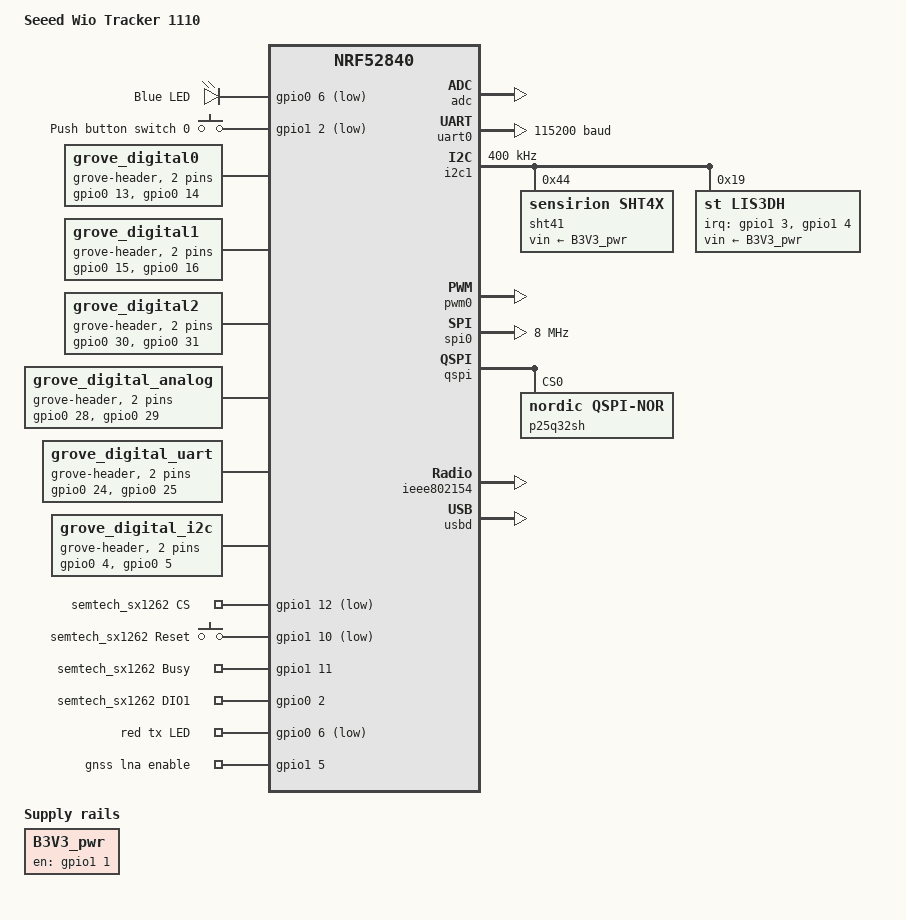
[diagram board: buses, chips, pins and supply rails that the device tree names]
/*
 * Copyright (c) 2017 Linaro Limited
 *
 * SPDX-License-Identifier: Apache-2.0
 */

/dts-v1/;
#include <nordic/nrf52840_qiaa.dtsi>
#include <zephyr/dt-bindings/gpio/gpio.h>
#include <zephyr/dt-bindings/led/led.h>
#include "wio_tracker_1110-pinctrl.dtsi"
#include <zephyr/dt-bindings/i2c/i2c.h>

/ {
	model = "Seeed Wio Tracker 1110";
	compatible = "seeed,wio-tracker-1110";

	chosen {
		zephyr,console = &usb_cdc_acm_uart;
		zephyr,shell-uart = &usb_cdc_acm_uart;
		// zephyr,uart-mcumgr = &usb_cdc_acm_uart;
		// zephyr,bt-mon-uart = &usb_cdc_acm_uart;
		// zephyr,bt-c2h-uart = &usb_cdc_acm_uart;
		nordic,pm-ext-flash = &p25q32sh;
		zephyr,sram = &sram0;
		zephyr,flash = &flash0;
		zephyr,code-partition = &slot0_partition;
		zephyr,ieee802154 = &ieee802154;
	};

	leds {
		compatible = "gpio-leds";
		led0: led_0 {
			gpios = <&gpio0 6 GPIO_ACTIVE_LOW>;
			label = "Blue LED";
		};
		/* The led `GROVE` is not controlled by MCU, 
		it's on when the power for Grove connectors are gated on via P1.01. */
	};

	buttons {
		compatible = "gpio-keys";
		button0: button_0 {
			gpios = <&gpio1 2 (GPIO_PULL_UP | GPIO_ACTIVE_LOW)>;
			label = "Push button switch 0";
		};
	};

	grove_digital0: grove_digital0 {
		compatible = "grove-header";
		#gpio-cells = <2>;
		gpio-map-mask = <0xffffffff 0xffffffc0>;
		gpio-map-pass-thru = <0 0x3f>;
		gpio-map = <0 0 &gpio0 13 0>,	/* D13 */
				<1 0 &gpio0 14 0>;		/* D14 */
	};

	grove_digital1: grove_digital1 {
		compatible = "grove-header";
		#gpio-cells = <2>;
		gpio-map-mask = <0xffffffff 0xffffffc0>;
		gpio-map-pass-thru = <0 0x3f>;
		gpio-map = <0 0 &gpio0 15 0>,	/* D15 */
				<1 0 &gpio0 16 0>;		/* D16 */
	};

	grove_digital2: grove_digital2 {
		compatible = "grove-header";
		#gpio-cells = <2>;
		gpio-map-mask = <0xffffffff 0xffffffc0>;
		gpio-map-pass-thru = <0 0x3f>;
		gpio-map = <0 0 &gpio0 30 0>,	/* D30 */
				<1 0 &gpio0 31 0>;		/* D31 */
	};

	/* use Analog header as digital pins */
	grove_digital_analog: grove_digital_analog {
		compatible = "grove-header";
		#gpio-cells = <2>;
		gpio-map-mask = <0xffffffff 0xffffffc0>;
		gpio-map-pass-thru = <0 0x3f>;
		gpio-map = <0 0 &gpio0 28 0>,	/* D28 */
				<1 0 &gpio0 29 0>;		/* D29 */
	};

	/* use UART header as digital pins */
	grove_digital_uart: grove_digital_uart {
		compatible = "grove-header";
		#gpio-cells = <2>;
		gpio-map-mask = <0xffffffff 0xffffffc0>;
		gpio-map-pass-thru = <0 0x3f>;
		gpio-map = <0 0 &gpio0 24 0>,	/* D24 */
				<1 0 &gpio0 25 0>;		/* D25 */
	};

	/* use I2C header as digital pins */
	grove_digital_i2c: grove_digital_i2c {
		compatible = "grove-header";
		#gpio-cells = <2>;
		gpio-map-mask = <0xffffffff 0xffffffc0>;
		gpio-map-pass-thru = <0 0x3f>;
		gpio-map = <0 0 &gpio0 4 0>,	/* D4 */
				<1 0 &gpio0 5 0>;		/* D5 */
	};

	semtech_gpios {
		compatible = "gpio-keys";
		semtech_sx1262_cs: cs {
			gpios = <&gpio1 12 GPIO_ACTIVE_LOW>;
			label = "semtech_sx1262 CS";
		};
		semtech_sx1262_reset_gpios: reset {
			gpios = <&gpio1 10 GPIO_ACTIVE_LOW>;
			label = "semtech_sx1262 Reset";
		};
		semtech_sx1262_busy_gpios: busy {
			gpios = <&gpio1 11 GPIO_ACTIVE_HIGH>;
			label = "semtech_sx1262 Busy";
		};
		/*semtech_sx1262_antenna_enable_gpios: antena_enable {
			gpios = <&gpio1 0xa GPIO_ACTIVE_HIGH>;
			label = "semtech_sx1262 Antena Enable";
		};*/
		semtech_sx1262_dio1_gpios: dio1 {
			gpios = <&gpio0 2 GPIO_ACTIVE_HIGH>;
			label = "semtech_sx1262 DIO1";
		};
		radio_led_tx: led_tx {
			gpios = <&gpio0 6 GPIO_ACTIVE_LOW>;
			label = "red tx LED";
		};
		/*radio_led_rx: led_rx {
			gpios = <&gpio0 0x1f GPIO_ACTIVE_HIGH>;
			label = "green rx LED";
		};
		radio_led_sniff: led_sniff {
			gpios = <&gpio1 0x5 GPIO_ACTIVE_HIGH>;
			label = "yellow LED";
		};*/
		radio_gnss_lna: gnss_lna {
			gpios = <&gpio1 5 GPIO_ACTIVE_HIGH>;
			label = "gnss lna enable";
		};
	};

	/* Regulators */
	B3V3_pwr: grove_power_3v3_en {
		compatible = "regulator-fixed";
		regulator-name = "grove_headers_power_3v3_enable";
		enable-gpios = <&gpio1 1 GPIO_ACTIVE_HIGH>;
		regulator-boot-on;
		startup-delay-us=<20000>;
		//delay needed to allow lis3dh to power up before driver init
	};

	/* These aliases are provided for compatibility with samples */
	aliases {
		led0 = &led0;
		sw0 = &button0;
		button0 = &button0;
		watchdog0 = &wdt0;
		spi-flash0 = &p25q32sh;
		accel0 = &lis3dh;
	};
};

&adc {
	status = "okay";
};

&gpiote {
	status = "okay";
};

&gpio0 {
	status = "okay";
};

&gpio1 {
	status = "okay";
};

grove_uart: &uart0 {
	compatible = "nordic,nrf-uarte";
	status = "okay";
	current-speed = <115200>;
	pinctrl-0 = <&uart0_default>;
	pinctrl-1 = <&uart0_sleep>;
	pinctrl-names = "default", "sleep";
};

grove_i2c: &i2c1 {
	compatible = "nordic,nrf-twim";
	status = "okay";
	pinctrl-0 = <&i2c1_default>;
	pinctrl-1 = <&i2c1_sleep>;
	pinctrl-names = "default", "sleep";
	clock-frequency = <I2C_BITRATE_FAST>;

	sht41: sht4x@44 {
		compatible = "sensirion,sht4x";
		reg = <0x44>;
		repeatability = <2>;	/* 2 = high -> 8.2 ms */
		vin-supply = < &B3V3_pwr >;
	};

	lis3dh: lis3dh@19 {
		compatible = "st,lis3dh", "st,lis2dh";
		reg = <0x19>;
		irq-gpios = <&gpio1 3 GPIO_ACTIVE_HIGH>,	/* P1.03 = INT1 */
				<&gpio1 4 GPIO_ACTIVE_HIGH>;		/* P1.04 = INT2 */
		// anym-on-int1;
		// disconnect-sdo-sa0-pull-up;
		vin-supply = < &B3V3_pwr >;
	};
};

&pwm0 {
	/* assigned to one of the trace pins temporarily */
	status = "okay";
	pinctrl-0 = <&pwm0_default>;
	pinctrl-1 = <&pwm0_sleep>;
	pinctrl-names = "default", "sleep";
};

sid_semtech: &spi0 {
	/* inside the WM1110 module */
	compatible = "nordic,nrf-spi";
	status = "okay";
	pinctrl-0 = <&spi0_default>;
	pinctrl-1 = <&spi0_sleep>;
	pinctrl-names = "default", "sleep";
	clock-frequency = <DT_FREQ_M(8)>;
};

&qspi {
	status = "okay";
	pinctrl-0 = <&qspi_default>;
	pinctrl-1 = <&qspi_sleep>;
	pinctrl-names = "default", "sleep";
	p25q32sh: p25q32sh@0 {
		compatible = "nordic,qspi-nor";
		reg = <0>;
		sck-frequency = <100000000>;
		quad-enable-requirements = "S2B1v1";
		jedec-id = [85 60 16];
		sfdp-bfp = [
			e5 20 f1 ff  ff ff ff 00  44 eb 08 6b  08 3b 80 bb
			ee ff ff ff  ff ff 00 ff  ff ff 00 ff  0c 20 0f 52
			10 d8 08 81
		];
		size = <33554432>;
		has-dpd;
		t-enter-dpd = <3000>;
		t-exit-dpd = <8000>;
	};
};

&ieee802154 {
	status = "okay";
};

&flash0 {

	partitions {
		compatible = "fixed-partitions";
		#address-cells = <1>;
		#size-cells = <1>;

		boot_mbr_partition: partition@0 {
			label = "boot_mbr";
			reg = <0x00000000 0x00001000>;
		};

		slot0_partition: partition@1000 {
			label = "code";
			reg = <0x00001000 0x00d0000>;
		};

		mfg_storage: partition@d0000 {
			label = "mfg_storage";
			reg = <0x000d0000 0x0001000>;
		};

		sidewalk_storage: partition@d1000 {
			label = "sidewalk_storage";
			reg = <0x000d1000 0x0001000>;
		};

		bootloader_partition: partition@f4000 {
			label = "bootloader";
			reg = <0x000f4000 0x00008000>;
		};

		storage_partition: partition@fc000 {
			label = "nvs";
			reg = <0x00fc000 0x00002000>;
		};

		bootloader_mbr_params_partition: partition@fe000 {
			label = "bootloader_mbr_params";
			reg = <0x000fe000 0x00001000>;
		};

		bootloader_settings_partition: partition@ff000 {
			label = "bootloader_settings";
			reg = <0x000ff000 0x00001000>;
		};

	};
};

zephyr_udc0: &usbd {
	compatible = "nordic,nrf-usbd";
	status = "okay";

	usb_cdc_acm_uart: cdc-acm-uart {
		compatible = "zephyr,cdc-acm-uart";
	};
};
